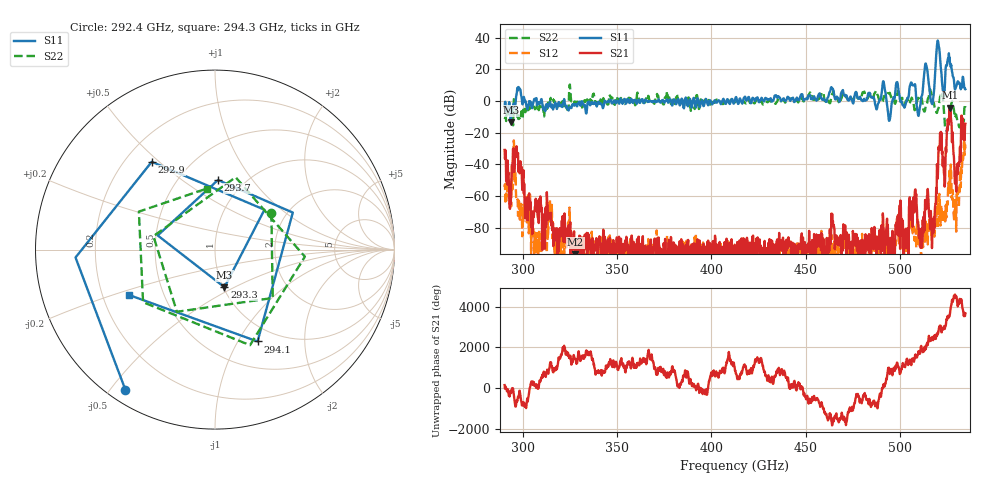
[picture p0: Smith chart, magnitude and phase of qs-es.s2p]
!Created with skrf (http://scikit-rf.org).
# GHz S RI R 50.0
!freq ReS11 ImS11 ReS21 ImS21 ReS12 ImS12 ReS22 ImS22
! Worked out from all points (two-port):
!   1201 points, 290 GHz to 535 GHz, reference 50 ohm
!   highest |S21| = -4.23 dB at 526.6 GHz (marker M1); lowest = -119.4 dB at 327.6 GHz (marker M2)
!   |S21| within 3 dB of the highest: 526.4276 GHz to 526.7138 GHz (286.3 MHz wide, 0.0544 % of centre); 526.9916 GHz to 527.0992 GHz (107.6 MHz wide, 0.0204 % of centre)
!   lowest |S11| = -13.3 dB at 293.3 GHz (marker M3), VSWR 1.55, Z = 50.6 - j22.3 ohm
!   |S11| at or under -10 dB: 293.1091 GHz to 293.4519 GHz (342.9 MHz wide, 0.117 % of centre); 494.1083 GHz to 495.0568 GHz (948.6 MHz wide, 0.192 % of centre)
!   |S22| runs from -19.3 to 10.5 dB; largest |S21 - S12| = 0.62
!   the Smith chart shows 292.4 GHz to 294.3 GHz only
!   S11 on the Smith chart (normalised r, x): 292.4 GHz: 0.05, -0.55; 292.9 GHz: 0.31, +0.47; 293.3 GHz: 1.01, -0.45; 293.7 GHz: 0.76, +0.69; 294.1 GHz: 0.81, -1.21; 294.3 GHz: 0.31, -0.23
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290  -0.5482 0.3093  -0.0272 0.00859  -0.00144 0.00127  -0.2411 -0.1228
292.45  -0.4988 -0.7821  0.000788 0.00143  -0.00124 -0.000444  0.3138 0.2042
292.8583  -0.3524 0.4893  0.000157 0.00036  -0.000358 0.000526  -0.2123 -0.3466
293.2667  0.0527 -0.2095  -0.000154 -0.000537  0.000838 0.000755  0.1149 0.4032
293.675  0.0164 0.3878  -0.00473 -0.00187  -0.00148 -0.000826  0.1952 -0.5324
294.0833  0.237 -0.5118  0.00533 0.0017  0.00193 0.00185  -0.424 0.2117
294.2875  -0.4779 -0.2532  0.000921 -0.0129  0.000928 0.00135  -0.0453 0.3401
327.5667  0.0816 -0.787  1.03e-06 -3.18e-07  -7.07e-06 -3.02e-05  -0.2548 -0.8515
331.0375  0.2725 0.9515  1.8e-06 1.23e-05  -2.54e-05 2.34e-06  0.5982 0.3633
371.6667  0.5658 0.8322  3.47e-06 -1.31e-05  5.37e-05 1.2e-05  -0.7882 1.229
412.5  0.9811 0.4654  -1.96e-05 1.6e-05  -1.61e-05 -7.48e-06  -0.194 0.8922
453.5375  -1.185 0.0964  2.1e-05 -3.49e-05  1.2e-06 1.71e-05  0.3733 1.275
494.1667  -0.2774 -0.0827  -7.95e-06 -9.72e-06  5.42e-06 1.67e-05  -1.436 -0.9749
513.7667  10.83 10.77  -0.000714 -6.07e-06  3.74e-05 -2.72e-05  0.2975 0.5432
518.2583  1.529 1.154  0.000203 -3.64e-05  5.42e-05 2.96e-05  0.4989 0.6876
519.4833  -16.72 -22.81  0.000828 0.00159  0.000114 -5.57e-05  -0.2613 0.3906
520.3  -66.95 -47.53  -0.00278 -0.00213  2.35e-06 -9.13e-05  0.5043 -0.1457
521.9333  7.669 8.241  -0.1042 0.0217  -7.18e-05 -0.000267  0.9065 1.263
522.75  -2.695 -1.413  0.0215 0.014  0.000133 -7.75e-05  1.696 -0.3517
526.6292  -23.59 -0.3365  0.2786 -0.5475  -0.00397 0.00195  -0.0187 -0.464
528.4667  -0.9737 -5.756  0.0412 -0.00639  -0.000722 -0.000426  0.7171 -0.0745
535  0.9442 2.176  0.1021 0.1611  0.0125 0.0226  -0.2584 0.64
